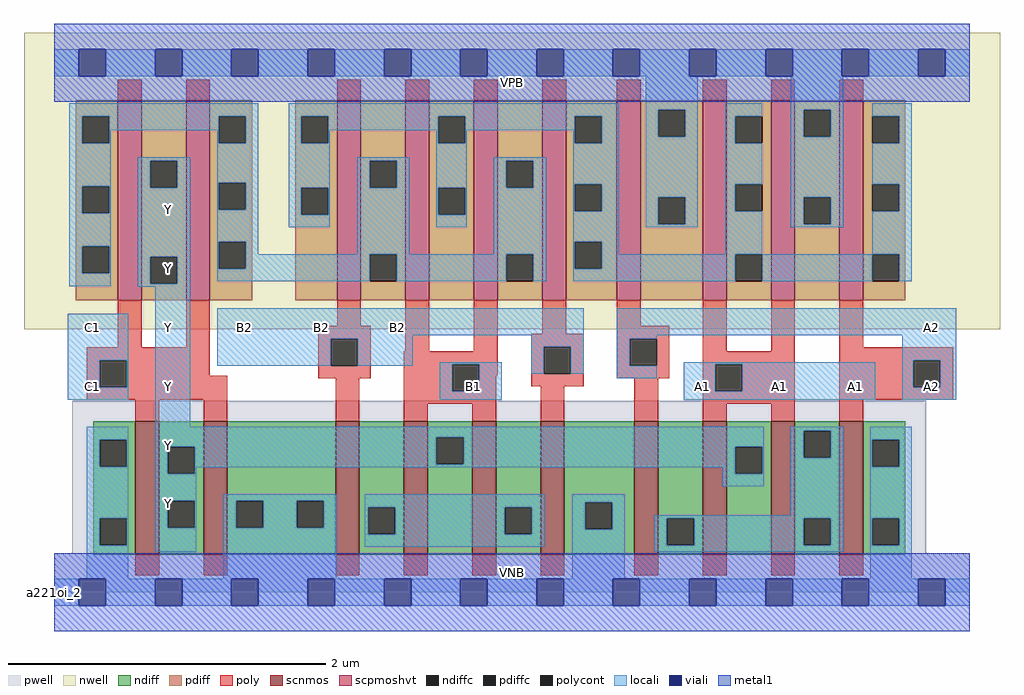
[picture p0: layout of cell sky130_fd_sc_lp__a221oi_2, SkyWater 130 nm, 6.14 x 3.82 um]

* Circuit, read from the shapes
.subckt sky130_fd_sc_lp__a221oi_2 A1 A2 B1 B2 C1 VGND VNB VPB VPWR Y
XM1 Y C1 VGND VNB sky130_fd_pr__nfet_01v8 w=0.84 l=0.15 m=2
XM2 n1 B2 VGND VNB sky130_fd_pr__nfet_01v8 w=0.84 l=0.15 m=2
XM3 Y B1 n1 VNB sky130_fd_pr__nfet_01v8 w=0.84 l=0.15 m=2
XM4 n2 A2 VGND VNB sky130_fd_pr__nfet_01v8 w=0.84 l=0.15 m=2
XM5 Y A1 n2 VNB sky130_fd_pr__nfet_01v8 w=0.84 l=0.15 m=2
XM6 Y C1 n3 VPB sky130_fd_pr__pfet_01v8_hvt w=1.26 l=0.15 m=2
XM7 n3 B2 n4 VPB sky130_fd_pr__pfet_01v8_hvt w=1.26 l=0.15 m=2
XM8 n4 B1 n3 VPB sky130_fd_pr__pfet_01v8_hvt w=1.26 l=0.15 m=2
XM9 VPWR A2 n4 VPB sky130_fd_pr__pfet_01v8_hvt w=1.26 l=0.15 m=2
XM10 n4 A1 VPWR VPB sky130_fd_pr__pfet_01v8_hvt w=1.26 l=0.15 m=2
.ends

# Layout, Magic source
magic
tech sky130A
magscale 1 2
<< nwell >>
rect -38 331 1190 704
<< pwell >>
rect 23 49 1097 241
rect 0 0 1152 49
<< scnmos >>
rect 102 47 132 215
rect 188 47 218 215
rect 354 47 384 215
rect 440 47 470 215
rect 526 47 556 215
rect 612 47 642 215
rect 730 47 760 215
rect 816 47 846 215
rect 902 47 932 215
rect 988 47 1018 215
<< scpmoshvt >>
rect 80 367 110 619
rect 166 367 196 619
rect 356 367 386 619
rect 442 367 472 619
rect 528 367 558 619
rect 614 367 644 619
rect 708 367 738 619
rect 816 367 846 619
rect 902 367 932 619
rect 988 367 1018 619
<< ndiff >>
rect 49 192 102 215
rect 49 158 57 192
rect 91 158 102 192
rect 49 93 102 158
rect 49 59 57 93
rect 91 59 102 93
rect 49 47 102 59
rect 132 183 188 215
rect 132 149 143 183
rect 177 149 188 183
rect 132 115 188 149
rect 132 81 143 115
rect 177 81 188 115
rect 132 47 188 81
rect 218 115 354 215
rect 218 81 229 115
rect 263 81 305 115
rect 339 81 354 115
rect 218 47 354 81
rect 384 107 440 215
rect 384 73 395 107
rect 429 73 440 107
rect 384 47 440 73
rect 470 195 526 215
rect 470 161 481 195
rect 515 161 526 195
rect 470 47 526 161
rect 556 107 612 215
rect 556 73 567 107
rect 601 73 612 107
rect 556 47 612 73
rect 642 113 730 215
rect 642 79 668 113
rect 702 79 730 113
rect 642 47 730 79
rect 760 93 816 215
rect 760 59 771 93
rect 805 59 816 93
rect 760 47 816 59
rect 846 183 902 215
rect 846 149 857 183
rect 891 149 902 183
rect 846 47 902 149
rect 932 203 988 215
rect 932 169 943 203
rect 977 169 988 203
rect 932 93 988 169
rect 932 59 943 93
rect 977 59 988 93
rect 932 47 988 59
rect 1018 192 1071 215
rect 1018 158 1029 192
rect 1063 158 1071 192
rect 1018 93 1071 158
rect 1018 59 1029 93
rect 1063 59 1071 93
rect 1018 47 1071 59
<< pdiff >>
rect 27 599 80 619
rect 27 565 35 599
rect 69 565 80 599
rect 27 511 80 565
rect 27 477 35 511
rect 69 477 80 511
rect 27 435 80 477
rect 27 401 35 435
rect 69 401 80 435
rect 27 367 80 401
rect 110 543 166 619
rect 110 509 121 543
rect 155 509 166 543
rect 110 422 166 509
rect 110 388 121 422
rect 155 388 166 422
rect 110 367 166 388
rect 196 599 249 619
rect 196 565 207 599
rect 241 565 249 599
rect 196 515 249 565
rect 196 481 207 515
rect 241 481 249 515
rect 196 441 249 481
rect 196 407 207 441
rect 241 407 249 441
rect 196 367 249 407
rect 303 599 356 619
rect 303 565 311 599
rect 345 565 356 599
rect 303 509 356 565
rect 303 475 311 509
rect 345 475 356 509
rect 303 367 356 475
rect 386 543 442 619
rect 386 509 397 543
rect 431 509 442 543
rect 386 425 442 509
rect 386 391 397 425
rect 431 391 442 425
rect 386 367 442 391
rect 472 599 528 619
rect 472 565 483 599
rect 517 565 528 599
rect 472 509 528 565
rect 472 475 483 509
rect 517 475 528 509
rect 472 367 528 475
rect 558 543 614 619
rect 558 509 569 543
rect 603 509 614 543
rect 558 425 614 509
rect 558 391 569 425
rect 603 391 614 425
rect 558 367 614 391
rect 644 599 708 619
rect 644 565 655 599
rect 689 565 708 599
rect 644 513 708 565
rect 644 479 655 513
rect 689 479 708 513
rect 644 441 708 479
rect 644 407 655 441
rect 689 407 708 441
rect 644 367 708 407
rect 738 607 816 619
rect 738 573 760 607
rect 794 573 816 607
rect 738 497 816 573
rect 738 463 760 497
rect 794 463 816 497
rect 738 367 816 463
rect 846 599 902 619
rect 846 565 857 599
rect 891 565 902 599
rect 846 513 902 565
rect 846 479 857 513
rect 891 479 902 513
rect 846 425 902 479
rect 846 391 857 425
rect 891 391 902 425
rect 846 367 902 391
rect 932 607 988 619
rect 932 573 943 607
rect 977 573 988 607
rect 932 497 988 573
rect 932 463 943 497
rect 977 463 988 497
rect 932 367 988 463
rect 1018 599 1071 619
rect 1018 565 1029 599
rect 1063 565 1071 599
rect 1018 513 1071 565
rect 1018 479 1029 513
rect 1063 479 1071 513
rect 1018 425 1071 479
rect 1018 391 1029 425
rect 1063 391 1071 425
rect 1018 367 1071 391
<< ndiffc >>
rect 57 158 91 192
rect 57 59 91 93
rect 143 149 177 183
rect 143 81 177 115
rect 229 81 263 115
rect 305 81 339 115
rect 395 73 429 107
rect 481 161 515 195
rect 567 73 601 107
rect 668 79 702 113
rect 771 59 805 93
rect 857 149 891 183
rect 943 169 977 203
rect 943 59 977 93
rect 1029 158 1063 192
rect 1029 59 1063 93
<< pdiffc >>
rect 35 565 69 599
rect 35 477 69 511
rect 35 401 69 435
rect 121 509 155 543
rect 121 388 155 422
rect 207 565 241 599
rect 207 481 241 515
rect 207 407 241 441
rect 311 565 345 599
rect 311 475 345 509
rect 397 509 431 543
rect 397 391 431 425
rect 483 565 517 599
rect 483 475 517 509
rect 569 509 603 543
rect 569 391 603 425
rect 655 565 689 599
rect 655 479 689 513
rect 655 407 689 441
rect 760 573 794 607
rect 760 463 794 497
rect 857 565 891 599
rect 857 479 891 513
rect 857 391 891 425
rect 943 573 977 607
rect 943 463 977 497
rect 1029 565 1063 599
rect 1029 479 1063 513
rect 1029 391 1063 425
<< poly >>
rect 80 619 110 645
rect 166 619 196 645
rect 356 619 386 645
rect 442 619 472 645
rect 528 619 558 645
rect 614 619 644 645
rect 708 619 738 645
rect 816 619 846 645
rect 902 619 932 645
rect 988 619 1018 645
rect 80 308 110 367
rect 166 308 196 367
rect 356 335 386 367
rect 41 292 196 308
rect 41 258 57 292
rect 91 272 196 292
rect 332 319 398 335
rect 332 285 348 319
rect 382 285 398 319
rect 442 303 472 367
rect 528 303 558 367
rect 614 325 644 367
rect 708 335 738 367
rect 91 258 218 272
rect 332 269 398 285
rect 440 287 558 303
rect 41 242 218 258
rect 102 215 132 242
rect 188 215 218 242
rect 354 215 384 269
rect 440 253 501 287
rect 535 273 558 287
rect 600 309 666 325
rect 600 275 616 309
rect 650 275 666 309
rect 535 253 556 273
rect 600 259 666 275
rect 708 319 774 335
rect 708 285 724 319
rect 758 285 774 319
rect 708 269 774 285
rect 816 303 846 367
rect 902 303 932 367
rect 816 287 932 303
rect 440 237 556 253
rect 440 215 470 237
rect 526 215 556 237
rect 612 215 642 259
rect 730 215 760 269
rect 816 253 832 287
rect 866 253 932 287
rect 816 237 932 253
rect 816 215 846 237
rect 902 215 932 237
rect 988 308 1018 367
rect 988 292 1131 308
rect 988 258 1081 292
rect 1115 258 1131 292
rect 988 242 1131 258
rect 988 215 1018 242
rect 102 21 132 47
rect 188 21 218 47
rect 354 21 384 47
rect 440 21 470 47
rect 526 21 556 47
rect 612 21 642 47
rect 730 21 760 47
rect 816 21 846 47
rect 902 21 932 47
rect 988 21 1018 47
<< polycont >>
rect 57 258 91 292
rect 348 285 382 319
rect 501 253 535 287
rect 616 275 650 309
rect 724 285 758 319
rect 832 253 866 287
rect 1081 258 1115 292
<< locali >>
rect 0 649 31 683
rect 65 649 127 683
rect 161 649 223 683
rect 257 649 319 683
rect 353 649 415 683
rect 449 649 511 683
rect 545 649 607 683
rect 641 649 703 683
rect 737 649 799 683
rect 833 649 895 683
rect 929 649 991 683
rect 1025 649 1087 683
rect 1121 649 1152 683
rect 19 599 257 615
rect 19 565 35 599
rect 69 581 207 599
rect 69 565 71 581
rect 19 511 71 565
rect 205 565 207 581
rect 241 565 257 599
rect 19 477 35 511
rect 69 477 71 511
rect 19 435 71 477
rect 19 401 35 435
rect 69 401 71 435
rect 19 385 71 401
rect 105 543 171 547
rect 105 509 121 543
rect 155 509 171 543
rect 105 422 171 509
rect 105 388 121 422
rect 155 388 171 422
rect 205 515 257 565
rect 205 481 207 515
rect 241 481 257 515
rect 205 441 257 481
rect 295 599 710 615
rect 295 565 311 599
rect 345 581 483 599
rect 345 565 347 581
rect 295 509 347 565
rect 481 565 483 581
rect 517 581 655 599
rect 517 565 519 581
rect 295 475 311 509
rect 345 475 347 509
rect 295 459 347 475
rect 381 543 447 547
rect 381 509 397 543
rect 431 509 447 543
rect 205 407 207 441
rect 241 425 257 441
rect 381 425 447 509
rect 481 509 519 565
rect 653 565 655 581
rect 689 565 710 599
rect 481 475 483 509
rect 517 475 519 509
rect 481 459 519 475
rect 553 543 619 547
rect 553 509 569 543
rect 603 509 619 543
rect 553 425 619 509
rect 241 407 397 425
rect 205 391 397 407
rect 431 391 569 425
rect 603 391 619 425
rect 653 513 710 565
rect 653 479 655 513
rect 689 479 710 513
rect 653 441 710 479
rect 744 607 810 649
rect 744 573 760 607
rect 794 573 810 607
rect 744 497 810 573
rect 744 463 760 497
rect 794 463 810 497
rect 744 459 810 463
rect 844 599 891 615
rect 844 565 857 599
rect 844 513 891 565
rect 844 479 857 513
rect 653 407 655 441
rect 689 425 710 441
rect 844 425 891 479
rect 927 607 993 649
rect 927 573 943 607
rect 977 573 993 607
rect 927 497 993 573
rect 927 463 943 497
rect 977 463 993 497
rect 927 459 993 463
rect 1029 599 1079 615
rect 1063 565 1079 599
rect 1029 513 1079 565
rect 1063 479 1079 513
rect 1029 425 1079 479
rect 689 407 857 425
rect 653 391 857 407
rect 891 391 1029 425
rect 1063 391 1079 425
rect 105 384 171 388
rect 17 292 93 350
rect 17 258 57 292
rect 91 258 93 292
rect 17 242 93 258
rect 127 208 171 384
rect 205 323 666 357
rect 205 319 451 323
rect 205 285 348 319
rect 382 285 451 319
rect 600 309 666 323
rect 485 287 563 289
rect 485 253 501 287
rect 535 253 563 287
rect 600 275 616 309
rect 650 275 666 309
rect 708 323 1135 357
rect 708 319 758 323
rect 708 285 724 319
rect 1067 292 1135 323
rect 708 269 758 285
rect 792 287 1033 289
rect 485 242 563 253
rect 792 253 832 287
rect 866 253 1033 287
rect 792 242 1033 253
rect 1067 258 1081 292
rect 1115 258 1135 292
rect 1067 242 1135 258
rect 41 192 93 208
rect 41 158 57 192
rect 91 158 93 192
rect 41 93 93 158
rect 41 59 57 93
rect 91 59 93 93
rect 41 17 93 59
rect 127 195 893 208
rect 127 183 481 195
rect 127 149 143 183
rect 177 161 481 183
rect 515 183 893 195
rect 515 161 857 183
rect 177 157 857 161
rect 177 149 179 157
rect 127 115 179 149
rect 841 149 857 157
rect 891 149 893 183
rect 841 133 893 149
rect 927 203 993 208
rect 927 169 943 203
rect 977 169 993 203
rect 127 81 143 115
rect 177 81 179 115
rect 127 51 179 81
rect 213 115 355 123
rect 213 81 229 115
rect 263 81 305 115
rect 339 81 355 115
rect 213 17 355 81
rect 391 107 617 123
rect 391 73 395 107
rect 429 73 567 107
rect 601 73 617 107
rect 391 57 617 73
rect 652 113 718 123
rect 652 79 668 113
rect 702 79 718 113
rect 927 97 993 169
rect 652 17 718 79
rect 755 93 993 97
rect 755 59 771 93
rect 805 59 943 93
rect 977 59 993 93
rect 755 51 993 59
rect 1027 192 1079 208
rect 1027 158 1029 192
rect 1063 158 1079 192
rect 1027 93 1079 158
rect 1027 59 1029 93
rect 1063 59 1079 93
rect 1027 17 1079 59
rect 0 -17 31 17
rect 65 -17 127 17
rect 161 -17 223 17
rect 257 -17 319 17
rect 353 -17 415 17
rect 449 -17 511 17
rect 545 -17 607 17
rect 641 -17 703 17
rect 737 -17 799 17
rect 833 -17 895 17
rect 929 -17 991 17
rect 1025 -17 1087 17
rect 1121 -17 1152 17
<< viali >>
rect 31 649 65 683
rect 127 649 161 683
rect 223 649 257 683
rect 319 649 353 683
rect 415 649 449 683
rect 511 649 545 683
rect 607 649 641 683
rect 703 649 737 683
rect 799 649 833 683
rect 895 649 929 683
rect 991 649 1025 683
rect 1087 649 1121 683
rect 31 -17 65 17
rect 127 -17 161 17
rect 223 -17 257 17
rect 319 -17 353 17
rect 415 -17 449 17
rect 511 -17 545 17
rect 607 -17 641 17
rect 703 -17 737 17
rect 799 -17 833 17
rect 895 -17 929 17
rect 991 -17 1025 17
rect 1087 -17 1121 17
<< metal1 >>
rect 0 683 1152 715
rect 0 649 31 683
rect 65 649 127 683
rect 161 649 223 683
rect 257 649 319 683
rect 353 649 415 683
rect 449 649 511 683
rect 545 649 607 683
rect 641 649 703 683
rect 737 649 799 683
rect 833 649 895 683
rect 929 649 991 683
rect 1025 649 1087 683
rect 1121 649 1152 683
rect 0 617 1152 649
rect 0 17 1152 49
rect 0 -17 31 17
rect 65 -17 127 17
rect 161 -17 223 17
rect 257 -17 319 17
rect 353 -17 415 17
rect 449 -17 511 17
rect 545 -17 607 17
rect 641 -17 703 17
rect 737 -17 799 17
rect 833 -17 895 17
rect 929 -17 991 17
rect 1025 -17 1087 17
rect 1121 -17 1152 17
rect 0 -49 1152 -17
<< labels >>
flabel pwell s 0 0 1152 49 0 FreeSans 200 0 0 0 VNB
port 7 nsew ground bidirectional
flabel nwell s 0 617 1152 666 0 FreeSans 200 0 0 0 VPB
port 8 nsew power bidirectional
rlabel comment s 0 0 0 0 4 a221oi_2
flabel metal1 s 0 617 1152 666 0 FreeSans 340 0 0 0 VPWR
port 9 nsew power bidirectional
flabel metal1 s 0 0 1152 49 0 FreeSans 340 0 0 0 VGND
port 6 nsew ground bidirectional
flabel locali s 799 242 833 276 0 FreeSans 340 0 0 0 A1
port 1 nsew signal input
flabel locali s 895 242 929 276 0 FreeSans 340 0 0 0 A1
port 1 nsew signal input
flabel locali s 991 242 1025 276 0 FreeSans 340 0 0 0 A1
port 1 nsew signal input
flabel locali s 127 94 161 128 0 FreeSans 340 0 0 0 Y
port 10 nsew signal output
flabel locali s 127 168 161 202 0 FreeSans 340 0 0 0 Y
port 10 nsew signal output
flabel locali s 127 242 161 276 0 FreeSans 340 0 0 0 Y
port 10 nsew signal output
flabel locali s 127 316 161 350 0 FreeSans 340 0 0 0 Y
port 10 nsew signal output
flabel locali s 127 390 161 424 0 FreeSans 340 0 0 0 Y
port 10 nsew signal output
flabel locali s 127 464 161 498 0 FreeSans 340 0 0 0 Y
port 10 nsew signal output
flabel locali s 511 242 545 276 0 FreeSans 340 0 0 0 B1
port 3 nsew signal input
flabel locali s 31 242 65 276 0 FreeSans 340 0 0 0 C1
port 5 nsew signal input
flabel locali s 31 316 65 350 0 FreeSans 340 0 0 0 C1
port 5 nsew signal input
flabel locali s 1087 242 1121 276 0 FreeSans 340 0 0 0 A2
port 2 nsew signal input
flabel locali s 1087 316 1121 350 0 FreeSans 340 0 0 0 A2
port 2 nsew signal input
flabel locali s 223 316 257 350 0 FreeSans 340 0 0 0 B2
port 4 nsew signal input
flabel locali s 319 316 353 350 0 FreeSans 340 0 0 0 B2
port 4 nsew signal input
flabel locali s 415 316 449 350 0 FreeSans 340 0 0 0 B2
port 4 nsew signal input
<< properties >>
string LEFsite unit
string LEFclass CORE
string FIXED_BBOX 0 0 1152 666
string GDS_FILE $PDKPATH/libs.ref/sky130_fd_sc_lp/gds/sky130_fd_sc_lp.gds
string LEFsymmetry X Y R90
string GDS_END 3946100
string GDS_START 3935320
<< end >>
